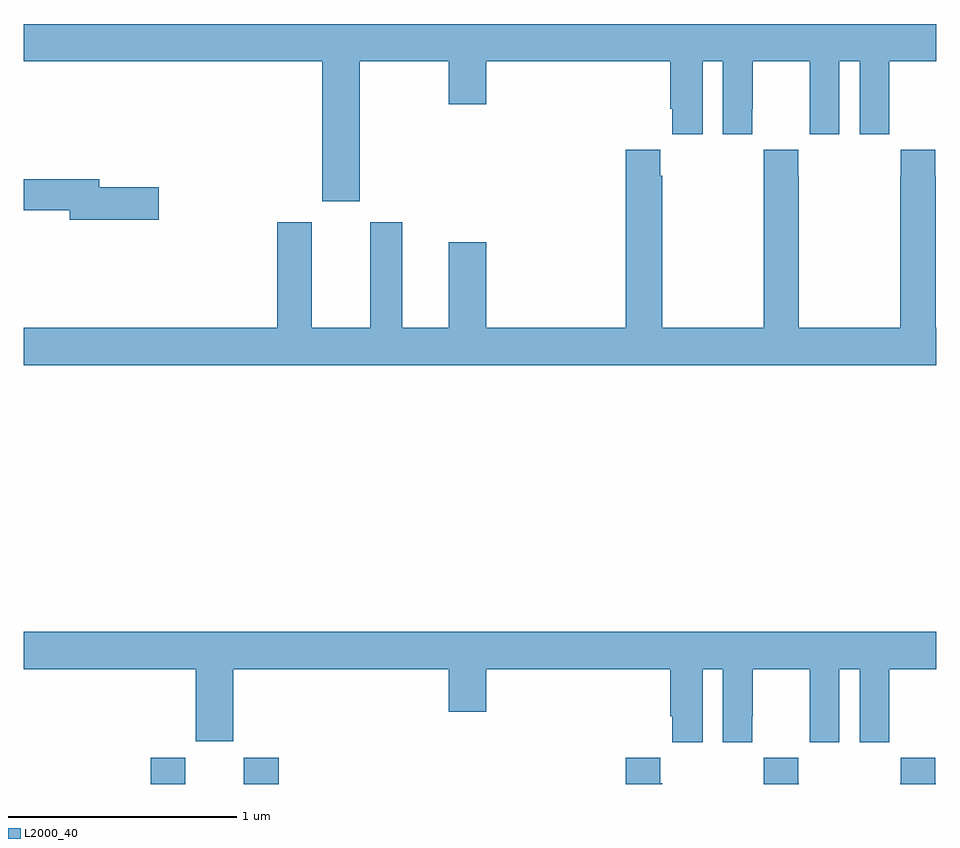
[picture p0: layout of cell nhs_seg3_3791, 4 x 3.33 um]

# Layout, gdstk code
import gdstk
lib = gdstk.Library(unit=1e-6, precision=1e-09)
def R(c, l, rs):  # rectangles x0, y0, x1, y1
    for r in rs: c.add(gdstk.rectangle(r[:2], r[2:], *l))
def P(c, l, *ps):  # polygons
    for p in ps: c.add(gdstk.Polygon(p, *l))
L2000_40 = (2000, 40)

nhs_seg3_3791 = lib.new_cell('nhs_seg3_3791')
R(nhs_seg3_3791, L2000_40, [(307.556,712.4,307.708,712.515), (307.964,712.4,308.117,712.515)])
P(nhs_seg3_3791, L2000_40, [(308.473,715.568),(308.864,715.568),(308.864,715.38),(309.028,715.38),(309.028,715.568),(309.833,715.568),(309.833,715.36),(309.842,715.36),(309.842,715.248),(309.976,715.248),(309.976,715.568),(310.064,715.568),(310.064,715.248),(310.194,715.248),(310.194,715.36),(310.195,715.36),(310.195,715.568),(310.445,715.568),(310.445,715.36),(310.446,715.36),(310.446,715.248),(310.576,715.248),(310.576,715.568),(310.664,715.568),(310.664,715.248),(310.794,715.248),(310.794,715.36),(310.795,715.36),(310.795,715.568),(311,715.568),(311,715.732),(307,715.732),(307,715.568),(308.309,715.568),(308.309,714.954),(308.473,714.954)],
  [(308.111,714.862),(308.111,714.4),(307,714.4),(307,714.236),(311,714.236),(311,714.4),(310.998,714.4),(310.998,715.067),(310.995,715.067),(310.995,715.18),(310.845,715.18),(310.845,715.067),(310.843,715.067),(310.843,714.4),(310.398,714.4),(310.398,715.067),(310.395,715.067),(310.395,715.18),(310.245,715.18),(310.245,715.067),(310.243,715.067),(310.243,714.4),(309.798,714.4),(309.798,715.067),(309.791,715.067),(309.791,715.18),(309.638,715.18),(309.638,714.4),(309.028,714.4),(309.028,714.775),(308.864,714.775),(308.864,714.4),(308.659,714.4),(308.659,714.862),(308.519,714.862),(308.519,714.4),(308.263,714.4),(308.263,714.862)],
  [(307.591,715.016),(307.33,715.016),(307.33,715.052),(307,715.052),(307,714.916),(307.202,714.916),(307.202,714.874),(307.591,714.874)],
  [(307,712.904),(307.754,712.904),(307.754,712.587),(307.918,712.587),(307.918,712.904),(308.864,712.904),(308.864,712.716),(309.028,712.716),(309.028,712.904),(309.833,712.904),(309.833,712.696),(309.842,712.696),(309.842,712.584),(309.976,712.584),(309.976,712.904),(310.064,712.904),(310.064,712.584),(310.194,712.584),(310.194,712.696),(310.195,712.696),(310.195,712.904),(310.445,712.904),(310.445,712.696),(310.446,712.696),(310.446,712.584),(310.576,712.584),(310.576,712.904),(310.664,712.904),(310.664,712.584),(310.794,712.584),(310.794,712.696),(310.795,712.696),(310.795,712.904),(311,712.904),(311,713.068),(307,713.068)],
  [(310.998,712.403),(310.995,712.403),(310.995,712.516),(310.845,712.516),(310.845,712.403),(310.843,712.403),(310.843,712.4),(310.998,712.4)],
  [(310.398,712.403),(310.395,712.403),(310.395,712.516),(310.245,712.516),(310.245,712.403),(310.243,712.403),(310.243,712.4),(310.398,712.4)],
  [(309.798,712.403),(309.791,712.403),(309.791,712.516),(309.638,712.516),(309.638,712.4),(309.798,712.4)])

lib.write_gds('nhs_seg3_3791.gds')
